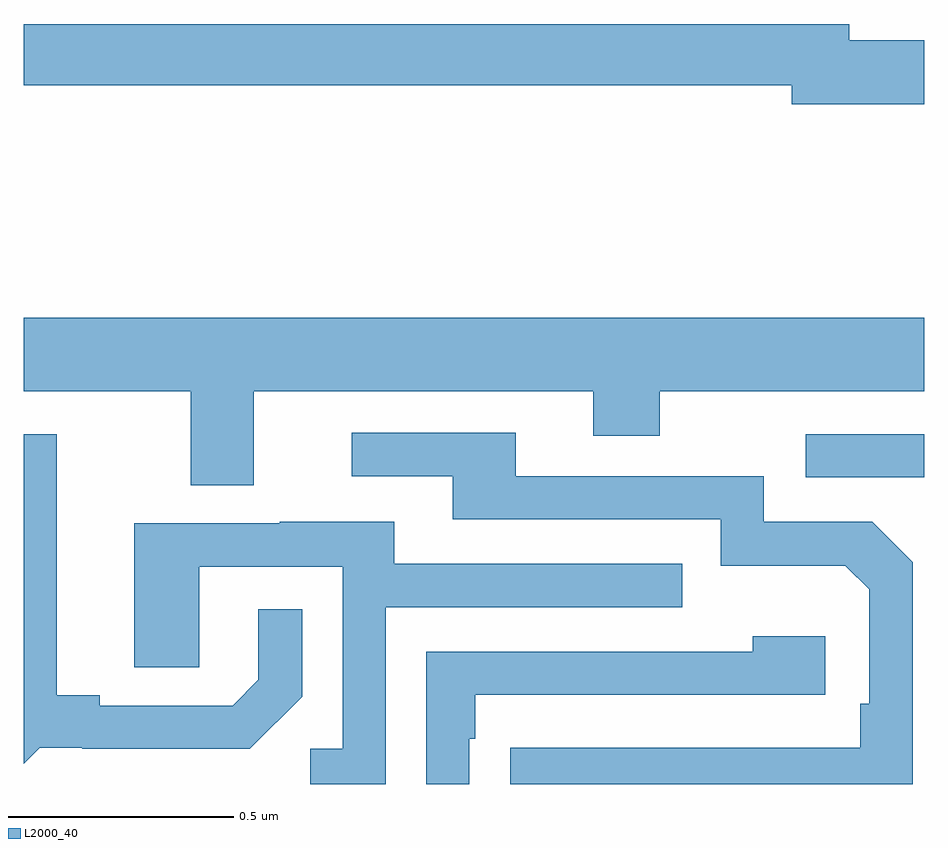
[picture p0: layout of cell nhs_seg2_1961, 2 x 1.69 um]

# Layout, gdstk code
import gdstk
lib = gdstk.Library(unit=1e-6, precision=1e-09)
def R(c, l, rs):  # rectangles x0, y0, x1, y1
    for r in rs: c.add(gdstk.rectangle(r[:2], r[2:], *l))
def P(c, l, *ps):  # polygons
    for p in ps: c.add(gdstk.Polygon(p, *l))
L2000_40 = (2000, 40)

nhs_seg2_1961 = lib.new_cell('nhs_seg2_1961')
R(nhs_seg2_1961, L2000_40, [(136.737,611.481,137,611.577)])
P(nhs_seg2_1961, L2000_40, [(137,612.452),(136.834,612.452),(136.834,612.488),(135,612.488),(135,612.352),(136.706,612.352),(136.706,612.31),(137,612.31)],
  [(135.511,611.672),(136.265,611.672),(136.265,611.573),(136.413,611.573),(136.413,611.672),(137,611.672),(137,611.836),(135,611.836),(135,611.672),(135.371,611.672),(135.371,611.464),(135.511,611.464)],
  [(136.974,611.292),(136.884,611.382),(136.644,611.382),(136.644,611.484),(136.093,611.484),(136.093,611.58),(135.729,611.58),(135.729,611.484),(135.953,611.484),(135.953,611.388),(136.548,611.388),(136.548,611.285),(136.825,611.285),(136.878,611.232),(136.878,610.978),(136.858,610.978),(136.858,610.881),(136.183,610.881),(136.183,610.88),(136.081,610.88),(136.081,610.8),(136.974,610.8)],
  [(135.036,610.881),(135.13,610.881),(135.13,610.878),(135.502,610.878),(135.618,610.994),(135.618,611.188),(135.521,611.188),(135.521,611.031),(135.464,610.974),(135.169,610.974),(135.169,610.997),(135.073,610.997),(135.073,611.577),(135,611.577),(135,610.845)],
  [(135.804,611.193),(136.463,611.193),(136.463,611.289),(135.823,611.289),(135.823,611.383),(135.569,611.383),(135.569,611.379),(135.245,611.379),(135.245,611.059),(135.39,611.059),(135.39,611.283),(135.708,611.283),(135.708,610.878),(135.636,610.878),(135.636,610.8),(135.804,610.8)],
  [(135.99,610.901),(136.003,610.901),(136.003,610.998),(136.78,610.998),(136.78,611.128),(136.619,611.128),(136.619,611.094),(135.894,611.094),(135.894,610.8),(135.99,610.8)])

lib.write_gds('nhs_seg2_1961.gds')
